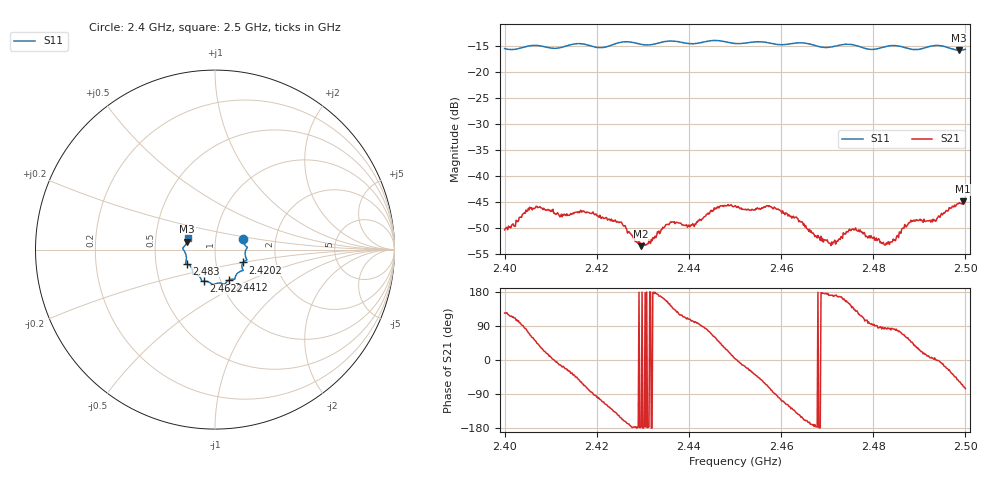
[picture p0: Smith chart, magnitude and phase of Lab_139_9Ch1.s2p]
# Hz S RI R 50
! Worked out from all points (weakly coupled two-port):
!   601 points, 2.4 GHz to 2.5 GHz, reference 50 ohm
!   highest |S21| = -44.86 dB at 2.4995 GHz (marker M1); lowest = -53.5 dB at 2.4297 GHz (marker M2)
!   lowest |S11| = -15.8 dB at 2.4987 GHz (marker M3), VSWR 1.39, Z = 36.4 + j3.3 ohm
!   |S11| at or under -10 dB: start of sweep to end of sweep
!   S12 and S22 are empty: the file has one direction only
!   S11 on the Smith chart (normalised r, x): 2.4 GHz: 1.36, +0.17; 2.4202 GHz: 1.35, -0.20; 2.4412 GHz: 1.09, -0.39; 2.4622 GHz: 0.83, -0.30; 2.483 GHz: 0.72, -0.12; 2.5 GHz: 0.73, +0.09
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2.4e9  0.1565 0.0604  -0.00169 0.00251  0 0  0 0
2.405667e9  0.1788 0.0143  0.00211 0.00445  0 0  0 0
2.416667e9  0.1775 -0.0582  0.00238 -0.0038  0 0  0 0
2.420167e9  0.1563 -0.0716  -0.000557 -0.00412  0 0  0 0
2.425e9  0.1557 -0.1129  -0.00314 -0.00176  0 0  0 0
2.429667e9  0.1377 -0.1228  -0.00211 -0.000115  0 0  0 0
2.433333e9  0.113 -0.1522  -0.00281 0.00038  0 0  0 0
2.436333e9  0.1102 -0.1652  -0.00276 0.00235  0 0  0 0
2.441167e9  0.0755 -0.1714  -0.000499 0.00322  0 0  0 0
2.446667e9  0.0498 -0.1934  0.00356 0.00361  0 0  0 0
2.45e9  0.0267 -0.1864  0.00517 0.000308  0 0  0 0
2.462167e9  -0.0628 -0.1762  -0.00257 -0.0032  0 0  0 0
2.466667e9  -0.0765 -0.1671  -0.0028 -0.000518  0 0  0 0
2.470833e9  -0.1043 -0.139  -0.00211 0.000344  0 0  0 0
2.475833e9  -0.1256 -0.1316  -0.00206 0.0022  0 0  0 0
2.483e9  -0.1588 -0.0779  0.000316 0.00219  0 0  0 0
2.483333e9  -0.1605 -0.0773  0.000284 0.00231  0 0  0 0
2.488167e9  -0.1592 -0.0463  0.0025 0.00279  0 0  0 0
2.493333e9  -0.1796 0.00424  0.00376 0.00036  0 0  0 0
2.498667e9  -0.1559 0.0441  0.00303 -0.00463  0 0  0 0
2.4995e9  -0.1533 0.0558  0.00207 -0.00533  0 0  0 0
2.5e9  -0.1528 0.0627  0.0014 -0.0055  0 0  0 0
